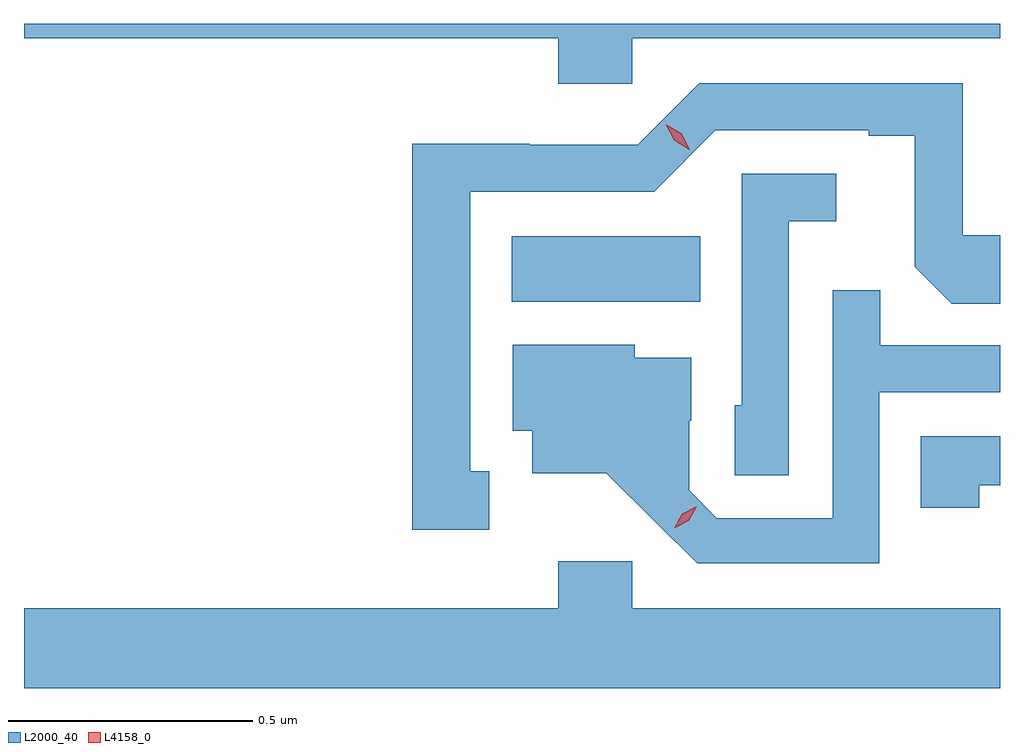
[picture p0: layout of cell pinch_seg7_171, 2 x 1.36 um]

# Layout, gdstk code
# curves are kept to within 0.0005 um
import gdstk
lib = gdstk.Library(unit=1e-6, precision=1e-09)
def R(c, l, rs):  # rectangles x0, y0, x1, y1
    for r in rs: c.add(gdstk.rectangle(r[:2], r[2:], *l))
def P(c, l, *ps):  # polygons
    for p in ps: c.add(gdstk.Polygon(p, *l))
L2000_40 = (2000, 40)
L4158_0 = (4158, 0)

pinch_seg7_171 = lib.new_cell('pinch_seg7_171')
R(pinch_seg7_171, L2000_40, [(1047.347,1032.044,1047.734,1032.178)])
P(pinch_seg7_171, L2000_40, [(1047.594,1032.584),(1048.348,1032.584),(1048.348,1032.614),(1046.348,1032.614),(1046.348,1032.584),(1047.443,1032.584),(1047.443,1032.491),(1047.594,1032.491)],
  [(1047.301,1031.697),(1047.262,1031.697),(1047.262,1032.27),(1047.639,1032.27),(1047.765,1032.396),(1048.079,1032.396),(1048.079,1032.384),(1048.173,1032.384),(1048.173,1032.116),(1048.249,1032.04),(1048.348,1032.04),(1048.348,1032.18),(1048.272,1032.18),(1048.272,1032.492),(1047.732,1032.492),(1047.606,1032.366),(1047.384,1032.366),(1047.384,1032.368),(1047.144,1032.368),(1047.144,1031.577),(1047.301,1031.577)],
  [(1047.915,1032.209),(1048.012,1032.209),(1048.012,1032.306),(1047.819,1032.306),(1047.819,1031.832),(1047.804,1031.832),(1047.804,1031.689),(1047.915,1031.689)],
  [(1048.101,1031.859),(1048.348,1031.859),(1048.348,1031.955),(1048.103,1031.955),(1048.103,1032.068),(1048.005,1032.068),(1048.005,1031.601),(1047.768,1031.601),(1047.711,1031.658),(1047.711,1031.8),(1047.715,1031.8),(1047.715,1031.929),(1047.6,1031.929),(1047.6,1031.956),(1047.35,1031.956),(1047.35,1031.78),(1047.389,1031.78),(1047.389,1031.693),(1047.541,1031.693),(1047.728,1031.508),(1048.101,1031.508)],
  [(1048.305,1031.668),(1048.348,1031.668),(1048.348,1031.769),(1048.186,1031.769),(1048.186,1031.622),(1048.305,1031.622)],
  [(1048.348,1031.416),(1047.594,1031.416),(1047.594,1031.512),(1047.443,1031.512),(1047.443,1031.416),(1046.348,1031.416),(1046.348,1031.252),(1048.348,1031.252)])
P(pinch_seg7_171, L4158_0, [(1047.68,1031.58),(1047.68,1031.58),(1047.697,1031.61),(1047.727,1031.625),(1047.727,1031.625),(1047.727,1031.625),(1047.71,1031.595),(1047.68,1031.58)],
  [(1047.711,1032.356),(1047.68,1032.375),(1047.663,1032.408),(1047.663,1032.408),(1047.663,1032.408),(1047.695,1032.389),(1047.712,1032.356),(1047.712,1032.356)])

lib.write_gds('pinch_seg7_171.gds')
